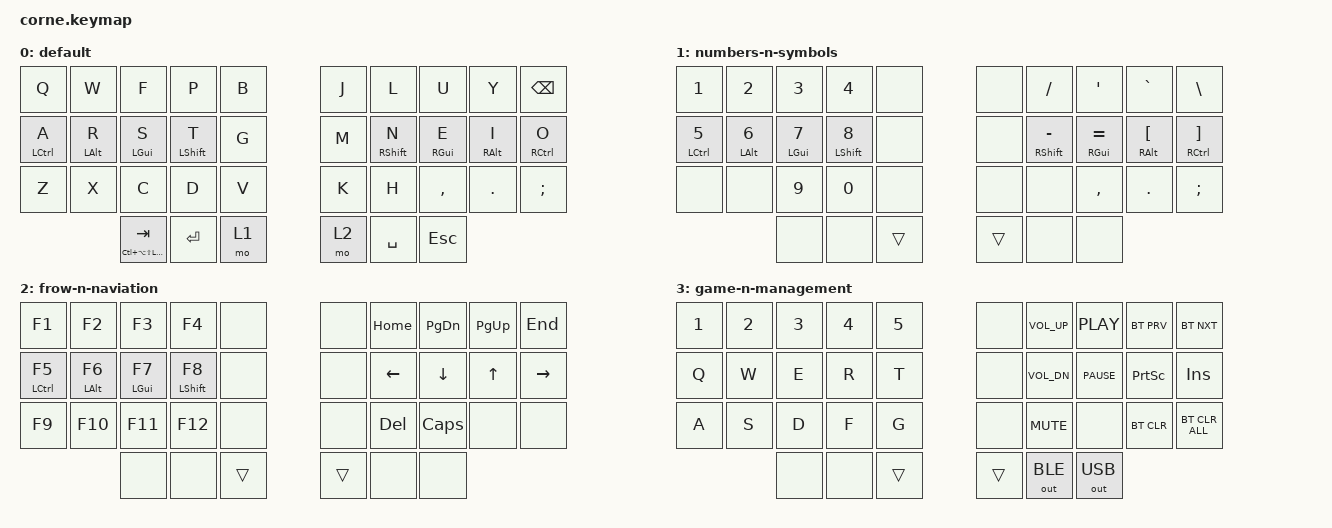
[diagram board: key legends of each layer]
/*
 * Copyright (c) 2020 The ZMK Contributors
 *
 * SPDX-License-Identifier: MIT
 */

#include <behaviors.dtsi>
#include <dt-bindings/zmk/bt.h>
#include <dt-bindings/zmk/keys.h>
#include <dt-bindings/zmk/outputs.h>

/ {
    chosen { zmk,matrix_transform = &five_column_transform; };

    behaviors {
        hml: hml {
            compatible = "zmk,behavior-hold-tap";
            bindings = <&kp>, <&kp>;

            #binding-cells = <2>;
            tapping-term-ms = <280>;
            quick-tap-ms = <175>;
            require-prior-idle-ms = <150>;
            flavor = "balanced";
            hold-trigger-key-positions = <5 6 8 15 16 17 18 25 26 27 28 7 33 34 35 9 19 29>;
            hold-trigger-on-release;
        };

        hmr: hmr {
            compatible = "zmk,behavior-hold-tap";
            bindings = <&kp>, <&kp>;

            #binding-cells = <2>;
            tapping-term-ms = <280>;
            quick-tap-ms = <175>;
            require-prior-idle-ms = <150>;
            flavor = "balanced";
            hold-trigger-key-positions = <0 1 2 3 4 10 11 12 13 14 20 21 22 23 24 30 31 32>;
            hold-trigger-on-release;
        };
    };

    combos { compatible = "zmk,combos"; };

    keymap {
        compatible = "zmk,keymap";

        default {
            bindings = <
  &kp Q         &kp W        &kp F                      &kp P          &kp B    &kp J  &kp L          &kp U        &kp Y        &kp BACKSPACE
  &hml LCTRL A  &hml LALT R  &hml LGUI S                &hml LSHIFT T  &kp G    &kp M  &hmr RSHIFT N  &hmr RGUI E  &hmr RALT I  &hmr RCTRL O
  &kp Z         &kp X        &kp C                      &kp D          &kp V    &kp K  &kp H          &kp COMMA    &kp DOT      &kp SEMICOLON
                             &hml LC(LA(LS(LGUI))) TAB  &kp ENTER      &mo 1    &mo 2  &kp SPACE      &kp ESC
            >;
        };

        numbers-n-symbols {
            bindings = <
  &kp N1         &kp N2        &kp N3        &kp N4         &none     &none   &kp FSLH           &kp APOS         &kp GRAVE               &kp BSLH
  &hml LCTRL N5  &hml LALT N6  &hml LGUI N7  &hml LSHFT N8  &none     &none   &hmr RSHIFT MINUS  &hmr RGUI EQUAL  &hmr RALT LEFT_BRACKET  &hmr RCTRL RIGHT_BRACKET
  &none          &none         &kp N9        &kp N0         &none     &none   &none              &kp COMMA        &kp PERIOD              &kp SEMICOLON
                               &none         &none          &trans    &trans  &none              &none
            >;
        };

        frow-n-naviation {
            bindings = <
  &kp F1         &kp F2        &kp F3        &kp F4         &none     &none   &kp HOME  &kp PAGE_DOWN  &kp PAGE_UP  &kp END
  &hml LCTRL F5  &hml LALT F6  &hml LGUI F7  &hml LSHFT F8  &none     &none   &kp LEFT  &kp DOWN       &kp UP       &kp RIGHT
  &kp F9         &kp F10       &kp F11       &kp F12        &none     &none   &kp DEL   &kp CAPS       &none        &none
                               &none         &none          &trans    &trans  &none     &none
            >;
        };

        game-n-management {
            bindings = <
  &kp NUMBER_1  &kp NUMBER_2  &kp NUMBER_3  &kp NUMBER_4  &kp N5    &none   &kp C_VOL_UP  &kp C_PLAY    &bt BT_PRV       &bt BT_NXT
  &kp Q         &kp W         &kp E         &kp R         &kp T     &none   &kp C_VOL_DN  &kp C_PAUSE   &kp PRINTSCREEN  &kp INSERT
  &kp A         &kp S         &kp D         &kp F         &kp G     &none   &kp K_MUTE    &none         &bt BT_CLR       &bt BT_CLR_ALL
                              &none         &none         &trans    &trans  &out OUT_BLE  &out OUT_USB
            >;
        };
    };

    conditional_layers {
        compatible = "zmk,conditional-layers";

        game-n-management {
            if-layers = <1 2>;
            then-layer = <3>;
        };
    };
};
